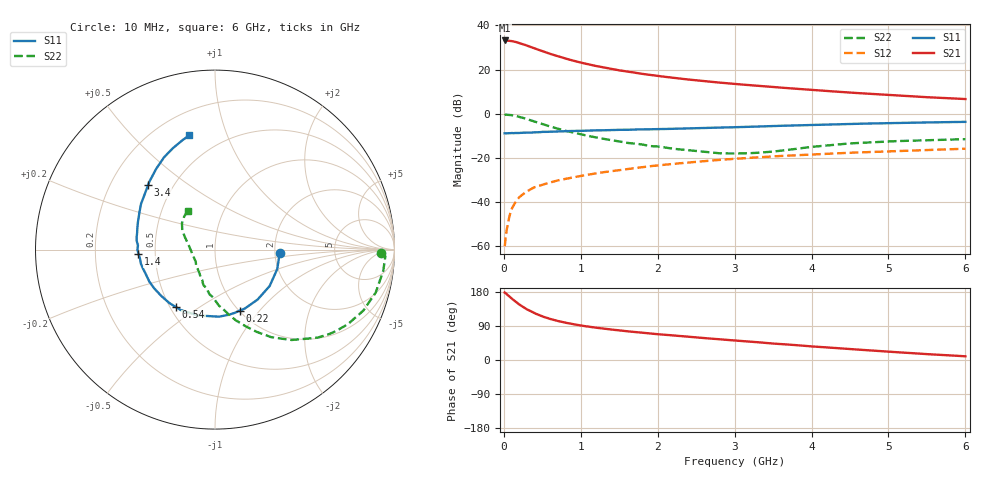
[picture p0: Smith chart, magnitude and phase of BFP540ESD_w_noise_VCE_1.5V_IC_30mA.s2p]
! Infineon Technologies  Discrete & RF Semiconductors
! BFP540ESD
! VCE =  1.5 V,  IC =  30 mA
! Common Emitter S-Parameters:  Nov 2015
# GHz  S  MA  R  50
!  f  S11  S21  S12  S22
! GHz  MAG  ANG  MAG  ANG  MAG  ANG  MAG  ANG
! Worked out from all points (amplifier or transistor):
!   210 points, 10 MHz to 6 GHz, reference 50 ohm
!   highest |S21| = 33.2 dB at 10 MHz (marker M1)
!   |S21| within 3 dB of that: start of sweep to 353.1 MHz
!   unconditionally stable (mu >= 1): start of sweep to 15.91 MHz; 1.806 GHz to end of sweep
!   at 185 MHz: K = 0.27, MSG = 35.3 dB, |S12| = -38.5 dB
!   at 1.52 GHz: K = 0.96, MSG = 22.5 dB, |S12| = -25.5 dB
!   at 6 GHz: K = 1.11, MAG = 9.2 dB, |S12| = -15.9 dB
!   lowest NFmin = 1.41 dB at 900 MHz
!   S11 on the Smith chart (normalised r, x): 10 MHz: 2.12, -0.10; 220 MHz: 1.01, -0.79; 540 MHz: 0.54, -0.41; 1.4 GHz: 0.40, -0.02; 3.4 GHz: 0.36, +0.36; 6 GHz: 0.34, +0.74
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0.01  0.3601 -3.4  45.49 178.1  0.001 119.1  0.925 -1.2
0.02  0.3595 -7.5  44.91 176.8  0.0014 70.4  0.9497 -2.2
0.055  0.3622 -19.1  45.02 170.4  0.0034 78.9  0.9425 -7.9
0.1  0.3659 -33.7  44.04 162.5  0.0068 85.5  0.9268 -15.0
0.15  0.3657 -49.4  42.3 154.2  0.0098 77.8  0.8934 -22.4
0.2  0.3678 -62.9  39.95 146.6  0.0128 72.9  0.8495 -29.2
0.22  0.3671 -67.9  38.88 144.0  0.0137 72.0  0.83 -31.6
0.3  0.3744 -86.4  34.89 133.6  0.0174 68.8  0.7536 -40.6
0.4  0.3792 -104.5  30.08 123.2  0.0216 65.4  0.6604 -49.7
0.5  0.387 -119.5  26.09 114.9  0.0245 62.7  0.5797 -57.3
0.54  0.3871 -124.0  24.68 112.5  0.0257 61.8  0.5519 -59.5
0.6  0.3916 -130.6  22.64 108.4  0.0276 60.6  0.5119 -63.3
0.7  0.3956 -139.6  20.01 103.0  0.0308 61.1  0.4571 -68.5
0.8  0.4018 -147.7  17.71 98.4  0.0334 60.7  0.4108 -73.6
1.02  0.4093 -160.8  14.09 90.4  0.0393 59.4  0.334 -82.3
1.4  0.4271 -176.8  10.3 80.3  0.0501 58.0  0.2511 -97.0
2.02  0.4483 165.2  7.082 67.8  0.0676 54.4  0.1787 -116.2
3.1  0.4988 141.7  4.563 50.0  0.0975 46.0  0.126 -162.7
3.4  0.5184 135.9  4.139 45.2  0.1053 43.0  0.134 -178.2
4.1  0.5623 124.5  3.358 34.6  0.1213 36.1  0.1837 156.8
5.1  0.6155 111.5  2.596 20.7  0.1421 26.7  0.2391 139.4
6  0.6527 102.7  2.145 9.7  0.1608 19.4  0.2647 124.8
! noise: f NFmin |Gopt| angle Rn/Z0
0.9  1.41  0.38  -138  0.12
1.8  1.56  0.4  -142  0.12
2.4  1.58  0.41  -133  0.14
3  1.7  0.43  -126  0.17
4  1.76  0.52  -104  0.29
5  1.88  0.59  -87  0.46
6  2.22  0.57  -86  0.68
